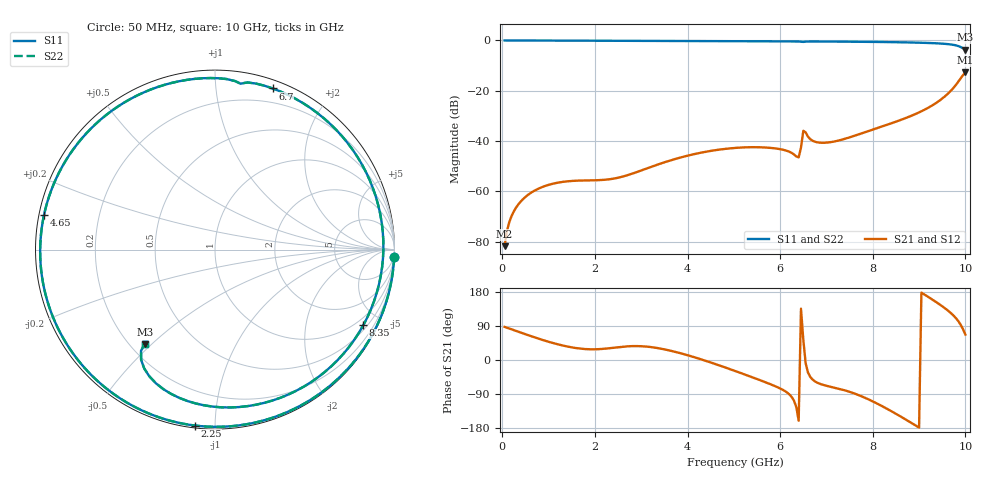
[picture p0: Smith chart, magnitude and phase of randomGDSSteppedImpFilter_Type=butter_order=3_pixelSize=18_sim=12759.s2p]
! freq	dB(S11)	phase(S11)	dB(S12)	phase(S12)
!  dB(S21)	phase(S21)	dB(S22)	phase(S22)
!S-par simulation data
#  GHz  S  DB  R 50
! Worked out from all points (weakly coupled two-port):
!   200 points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, 50 MHz to 10 GHz, reference 50 ohm
!   highest |S21| = -12.61 dB at 10 GHz (marker M1); lowest = -81.8 dB at 50 MHz (marker M2)
!   lowest |S11| = -3.7 dB at 10 GHz (marker M3), VSWR 4.80, Z = 12.9 - j23.7 ohm
!   |S11| at or under -10 dB: nowhere
!   |S22| runs from -3.7 to 0.0 dB; largest |S21 - S12| = 0
!   S11 on the Smith chart (normalised r, x): 50 MHz: 1, -50; 2.25 GHz: 0.01, -0.89; 4.65 GHz: 0.01, +0.10; 6.7 GHz: 0.07, +1.42; 8.35 GHz: 0.67, -4.05; 10 GHz: 0.26, -0.47
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0.05  -0.01 -2.3  -81.76 87.3  -81.76 87.3  -0.01 -2.3
0.15  -0.01 -6.8  -72.26 83.2  -72.26 83.2  -0.01 -6.8
0.25  -0.02 -11.2  -67.89 78.8  -67.89 78.8  -0.02 -11.2
0.55  -0.03 -24.6  -61.44 65.8  -61.44 65.8  -0.03 -24.6
1.05  -0.06 -46.6  -57.13 46.3  -57.13 46.3  -0.06 -46.6
1.75  -0.09 -76.2  -55.65 29.3  -55.65 29.3  -0.09 -76.2
2.25  -0.12 -96.6  -55.31 30.2  -55.31 30.2  -0.12 -96.6
3.4  -0.17 -141.8  -49.05 30.5  -49.05 30.5  -0.17 -141.8
4.05  -0.21 -167.2  -45.57 10.9  -45.57 10.9  -0.21 -167.2
4.65  -0.25 168.4  -43.48 -12.7  -43.48 -12.7  -0.25 168.4
5.05  -0.28 151.4  -42.68 -30.0  -42.68 -30.0  -0.28 151.4
5.8  -0.34 116.8  -42.71 -64.4  -42.71 -64.4  -0.34 116.9
6.4  -0.43 85.9  -46.46 -160.2  -46.46 -160.2  -0.42 86.0
6.5  -0.58 81.3  -35.91 53.6  -35.91 53.6  -0.58 81.3
6.7  -0.41 70.3  -39.85 -51.6  -39.85 -51.6  -0.41 70.4
7.6  -0.51 18.0  -37.92 -88.2  -37.92 -88.2  -0.51 18.1
7.95  -0.56 -3.0  -35.76 -106.3  -35.76 -106.3  -0.56 -2.9
8.35  -0.65 -27.1  -33.26 -131.6  -33.26 -131.6  -0.65 -27.0
8.8  -0.80 -54.1  -30.20 -163.5  -30.20 -163.5  -0.80 -54.0
9.25  -1.04 -81.4  -26.20 162.4  -26.20 162.4  -1.04 -81.3
9.65  -1.51 -106.9  -20.67 127.7  -20.67 127.7  -1.51 -106.9
10  -3.67 -126.7  -12.61 67.0  -12.61 67.0  -3.69 -126.7
